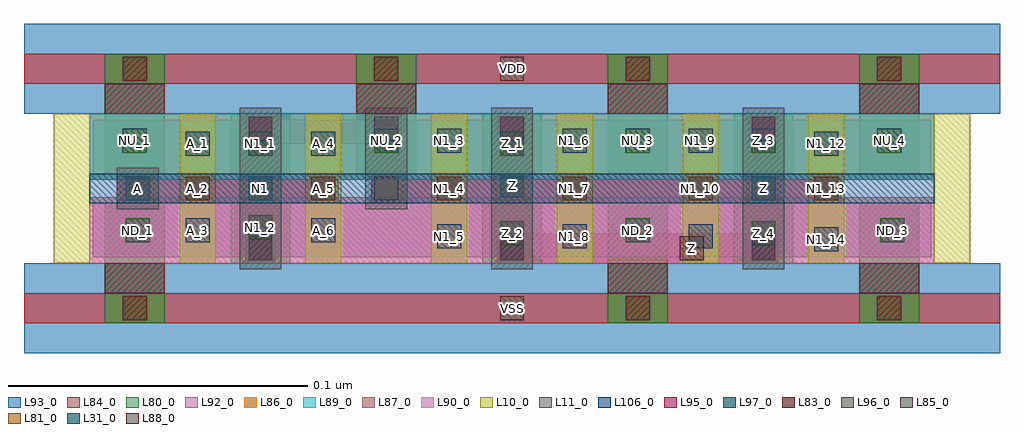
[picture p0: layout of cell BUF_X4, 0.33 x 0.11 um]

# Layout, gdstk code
import gdstk
lib = gdstk.Library(unit=1e-6, precision=1e-09)
def R(c, l, rs):  # rectangles x0, y0, x1, y1
    for r in rs: c.add(gdstk.rectangle(r[:2], r[2:], *l))
def A(c, l, x, y, w, h, nx, ny, dx, dy):  # array of equal rectangles
    R(c, l, [(x+i*dx, y+j*dy, x+i*dx+w, y+j*dy+h) for i in range(nx) for j in range(ny)])
L10_0 = (10, 0)
L11_0 = (11, 0)
L31_0 = (31, 0)
L80_0 = (80, 0)
L81_0 = (81, 0)
L83_0 = (83, 0)
L84_0 = (84, 0)
L85_0 = (85, 0)
L86_0 = (86, 0)
L87_0 = (87, 0)
L88_0 = (88, 0)
L89_0 = (89, 0)
L90_0 = (90, 0)
L92_0 = (92, 0)
L93_0 = (93, 0)
L95_0 = (95, 0)
L96_0 = (96, 0)
L97_0 = (97, 0)
L106_0 = (106, 0)

buf_x4 = lib.new_cell('BUF_X4')
A(buf_x4, L10_0, -0.027, 0.015, 0.012, 0.05, 8, 1, 0.042, 0)
A(buf_x4, L11_0, 0.035, 0.013, 0.014, 0.034, 3, 1, 0.084, 0)
A(buf_x4, L11_0, 0.035, 0.033, 0.014, 0.034, 3, 1, 0.042, 0)
R(buf_x4, L11_0, [(-0.006,0.033,0.008,0.047), (0.203,0.033,0.217,0.067)])
R(buf_x4, L31_0, [(-0.003,0.036,0.005,0.044), (0.038,0.036,0.046,0.044), (0.206,0.036,0.214,0.044), (0.122,0.037,0.13,0.045)])
A(buf_x4, L80_0, 0.116, 0.015, 0.02, 0.02, 4, 1, 0.042, 0)
A(buf_x4, L80_0, -0.01, 0.056, 0.02, 0.029, 4, 1, 0.084, 0)
R(buf_x4, L80_0, [(-0.01,-0.005,0.01,0.016), (0.158,-0.005,0.178,0.016), (0.242,-0.005,0.262,0.016), (-0.01,0.015,0.01,0.035), (0.032,0.015,0.052,0.035), (-0.01,0.045,0.01,0.065), (-0.01,0.045,0.01,0.065), (0.032,0.045,0.052,0.065), (0.032,0.045,0.052,0.065), (0.074,0.045,0.094,0.065), (0.074,0.045,0.094,0.065), (0.116,0.045,0.136,0.065), (0.116,0.045,0.136,0.065), (0.158,0.045,0.178,0.065), (0.158,0.045,0.178,0.065), (0.2,0.045,0.22,0.065), (0.2,0.045,0.22,0.065), (0.242,0.045,0.262,0.065), (0.242,0.045,0.262,0.065)])
A(buf_x4, L81_0, 0.017, 0.036, 0.008, 0.008, 6, 1, 0.042, 0)
A(buf_x4, L83_0, 0.038, 0.016, 0.008, 0.008, 3, 2, 0.084, 0.04)
A(buf_x4, L83_0, -0.004, 0.076, 0.008, 0.008, 4, 1, 0.084, 0)
R(buf_x4, L83_0, [(-0.004,-0.004,0.004,0.004), (0.164,-0.004,0.172,0.004), (0.248,-0.004,0.256,0.004)])
A(buf_x4, L84_0, 0.121, 0.015, 0.031, 0.01, 4, 1, 0.021, 0)
A(buf_x4, L84_0, 0.079, 0.035, 0.031, 0.01, 7, 1, 0.021, 0)
R(buf_x4, L84_0, [(-0.037,-0.005,0.289,0.005), (0.037,0.015,0.047,0.025), (-0.006,0.035,0.051,0.045), (0.016,0.035,0.047,0.045), (0.037,0.035,0.068,0.045), (0.037,0.055,0.068,0.065), (0.058,0.055,0.089,0.065), (0.121,0.055,0.131,0.065), (0.205,0.055,0.215,0.065), (-0.037,0.075,0.289,0.085)])
A(buf_x4, L85_0, 0.038, 0.016, 0.008, 0.008, 3, 1, 0.084, 0)
A(buf_x4, L85_0, 0.038, 0.056, 0.008, 0.008, 3, 1, 0.042, 0)
R(buf_x4, L85_0, [(-0.003,0.036,0.005,0.044), (0.08,0.036,0.088,0.044), (0.206,0.056,0.214,0.064)])
R(buf_x4, L86_0, [(-0.015,0.043,0.267,0.065)])
R(buf_x4, L87_0, [(-0.015,0.015,0.267,0.037)])
R(buf_x4, L88_0, [(0.122,-0.004,0.13,0.004), (0.182,0.016,0.19,0.024), (0.122,0.076,0.13,0.084)])
R(buf_x4, L89_0, [(-0.015,0.043,0.267,0.065)])
R(buf_x4, L90_0, [(-0.015,0.015,0.267,0.037)])
R(buf_x4, L92_0, [(-0.014,0.017,0.266,0.035), (-0.014,0.045,0.266,0.063)])
R(buf_x4, L93_0, [(-0.037,-0.015,0.289,0.015), (-0.037,0.065,0.289,0.095)])
A(buf_x4, L95_0, -0.01, 0.065, 0.02, 0.01, 4, 1, 0.084, 0)
R(buf_x4, L95_0, [(-0.01,0.005,0.01,0.015), (0.158,0.005,0.178,0.015), (0.242,0.005,0.262,0.015)])
A(buf_x4, L96_0, -0.004, 0.052, 0.008, 0.008, 3, 1, 0.084, 0)
R(buf_x4, L96_0, [(0.122,0.021,0.13,0.029), (0.206,0.021,0.214,0.029), (-0.003,0.022,0.005,0.03), (0.164,0.022,0.172,0.03), (0.249,0.022,0.257,0.03), (0.038,0.023,0.046,0.031), (0.038,0.051,0.046,0.059), (0.122,0.051,0.13,0.059), (0.206,0.052,0.214,0.06), (0.248,0.052,0.256,0.06)])
A(buf_x4, L97_0, 0.101, 0.02, 0.008, 0.008, 3, 2, 0.042, 0.032)
A(buf_x4, L97_0, 0.017, 0.036, 0.008, 0.008, 6, 1, 0.042, 0)
R(buf_x4, L97_0, [(0.227,0.019,0.235,0.027), (0.017,0.022,0.025,0.03), (0.059,0.022,0.067,0.03), (0.017,0.051,0.025,0.059), (0.059,0.051,0.067,0.059), (0.227,0.051,0.235,0.059)])
R(buf_x4, L106_0, [(-0.015,0.035,0.267,0.045)])
buf_x4.add(gdstk.Label('Z', (0.186,0.02), layer=88, texttype=0))
buf_x4.add(gdstk.Label('VSS', (0.126,0), layer=88, texttype=0))
buf_x4.add(gdstk.Label('VDD', (0.126,0.08), layer=88, texttype=0))
buf_x4.add(gdstk.Label('Z_3', (0.21,0.056), layer=96, texttype=0))
buf_x4.add(gdstk.Label('Z_4', (0.21,0.025), layer=96, texttype=0))
buf_x4.add(gdstk.Label('Z_2', (0.126,0.025), layer=96, texttype=0))
buf_x4.add(gdstk.Label('Z_1', (0.126,0.055), layer=96, texttype=0))
buf_x4.add(gdstk.Label('N1_2', (0.042,0.027), layer=96, texttype=0))
buf_x4.add(gdstk.Label('N1_1', (0.042,0.055), layer=96, texttype=0))
buf_x4.add(gdstk.Label('ND_3', (0.253,0.026), layer=96, texttype=0))
buf_x4.add(gdstk.Label('ND_2', (0.168,0.026), layer=96, texttype=0))
buf_x4.add(gdstk.Label('ND_1', (0.001,0.026), layer=96, texttype=0))
buf_x4.add(gdstk.Label('NU_4', (0.252,0.056), layer=96, texttype=0))
buf_x4.add(gdstk.Label('NU_3', (0.168,0.056), layer=96, texttype=0))
buf_x4.add(gdstk.Label('NU_2', (0.084,0.056), layer=96, texttype=0))
buf_x4.add(gdstk.Label('NU_1', (0,0.056), layer=96, texttype=0))
buf_x4.add(gdstk.Label('A', (0.001,0.04), layer=31, texttype=0))
buf_x4.add(gdstk.Label('Z', (0.126,0.041), layer=31, texttype=0))
buf_x4.add(gdstk.Label('Z', (0.21,0.04), layer=31, texttype=0))
buf_x4.add(gdstk.Label('N1', (0.042,0.04), layer=31, texttype=0))
buf_x4.add(gdstk.Label('A_4', (0.063,0.055), layer=97, texttype=0))
buf_x4.add(gdstk.Label('A_5', (0.063,0.04), layer=97, texttype=0))
buf_x4.add(gdstk.Label('A_6', (0.063,0.026), layer=97, texttype=0))
buf_x4.add(gdstk.Label('A_3', (0.021,0.026), layer=97, texttype=0))
buf_x4.add(gdstk.Label('A_2', (0.021,0.04), layer=97, texttype=0))
buf_x4.add(gdstk.Label('A_1', (0.021,0.055), layer=97, texttype=0))
buf_x4.add(gdstk.Label('N1_14', (0.231,0.023), layer=97, texttype=0))
buf_x4.add(gdstk.Label('N1_13', (0.231,0.04), layer=97, texttype=0))
buf_x4.add(gdstk.Label('N1_12', (0.231,0.055), layer=97, texttype=0))
buf_x4.add(gdstk.Label('N1_11', (0.189,0.024), layer=97, texttype=0))
buf_x4.add(gdstk.Label('N1_10', (0.189,0.04), layer=97, texttype=0))
buf_x4.add(gdstk.Label('N1_9', (0.189,0.056), layer=97, texttype=0))
buf_x4.add(gdstk.Label('N1_8', (0.147,0.024), layer=97, texttype=0))
buf_x4.add(gdstk.Label('N1_7', (0.147,0.04), layer=97, texttype=0))
buf_x4.add(gdstk.Label('N1_6', (0.147,0.056), layer=97, texttype=0))
buf_x4.add(gdstk.Label('N1_5', (0.105,0.024), layer=97, texttype=0))
buf_x4.add(gdstk.Label('N1_4', (0.105,0.04), layer=97, texttype=0))
buf_x4.add(gdstk.Label('N1_3', (0.105,0.056), layer=97, texttype=0))

lib.write_gds('BUF_X4.gds')
